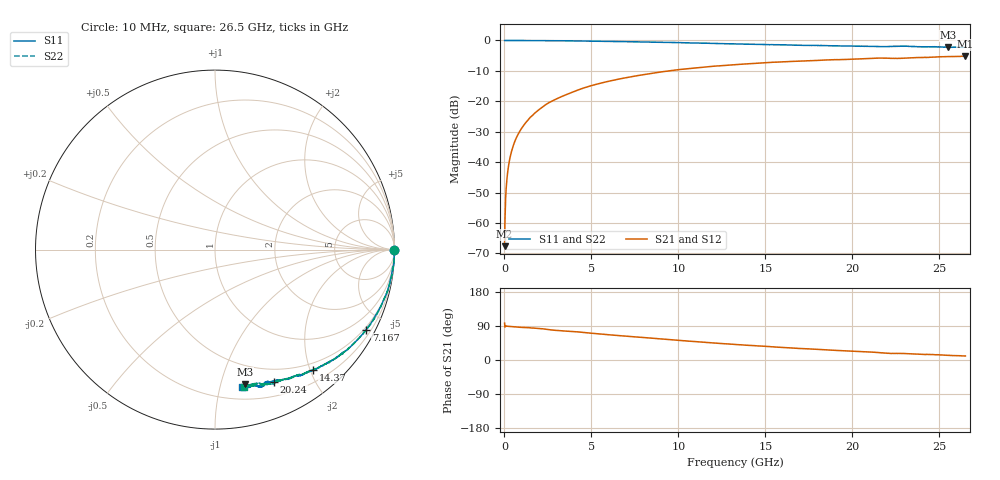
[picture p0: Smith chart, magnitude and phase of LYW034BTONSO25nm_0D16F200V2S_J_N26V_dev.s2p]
!Keysight Technologies,N5222B,MY61253708,A.15.00.15
!Date: Wednesday, June 19, 2024 08:52:19
!Correction: S11(C  2-Port  )
!S21(C  2-Port  )
!S12(C  2-Port  )
!S22(C  2-Port  )
!S2P File: Measurements: S11, S21, S12, S22:
# Hz S  RI  R 50
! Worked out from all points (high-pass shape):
!   2651 points, 10 MHz to 26.5 GHz, reference 50 ohm
!   highest |S21| = -5.15 dB at 26.5 GHz (marker M1); lowest = -67.6 dB at 10 MHz (marker M2)
!   |S21| within 3 dB of the highest: 12.81 GHz to end of sweep
!   lowest |S11| = -2.3 dB at 25.5 GHz (marker M3), VSWR 7.61, Z = 16.3 - j59.6 ohm
!   |S11| at or under -10 dB: nowhere
!   |S22| runs from -2.2 to 0.0 dB; largest |S21 - S12| = 0.0077
!   S11 on the Smith chart (normalised r, x): 10 MHz: open; 7.167 GHz: 0.41, -3.99; 14.37 GHz: 0.38, -2.04; 20.24 GHz: 0.35, -1.48; 26.5 GHz: 0.30, -1.17
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1e7  0.9988 -0.00215  -5.15e-05 0.000411  0.000151 0.000519  0.9991 -0.0005
7.997358e7  0.9998 -0.0059  1.69e-05 0.00299  4.89e-05 0.00297  0.9994 -0.0055
1.599434e8  0.9998 -0.0121  8.63e-05 0.0059  7.34e-05 0.00591  0.9995 -0.0114
2.099245e8  0.9996 -0.0153  0.000128 0.00775  0.000116 0.00778  0.9994 -0.0147
2.699019e8  0.9995 -0.0198  0.000177 0.0099  0.000218 0.01  0.9998 -0.0189
3.698642e8  0.9993 -0.0272  0.000395 0.0136  0.000411 0.0137  0.9993 -0.0264
4.998151e8  0.9987 -0.0362  0.000685 0.0183  0.000686 0.0184  0.9991 -0.035
6.597547e8  0.9978 -0.047  0.00114 0.0241  0.00115 0.0242  0.9982 -0.046
8.596792e8  0.9974 -0.0613  0.00195 0.0313  0.00195 0.0315  0.9972 -0.0608
1.479445e9  0.9889 -0.1061  0.00494 0.054  0.00499 0.0542  0.9919 -0.1025
2.349117e9  0.9784 -0.1628  0.0127 0.0862  0.0129 0.0867  0.98 -0.1629
3.208792e9  0.9643 -0.2204  0.0256 0.1139  0.0258 0.1145  0.9646 -0.2195
4.428332e9  0.933 -0.2964  0.0463 0.154  0.0466 0.1548  0.9349 -0.2935
7.167298e9  0.8426 -0.4457  0.1161 0.2207  0.1175 0.2216  0.8451 -0.4441
8.846664e9  0.7764 -0.5196  0.1666 0.2487  0.168 0.2495  0.7783 -0.5179
1.3255e10  0.5898 -0.6502  0.3019 0.2633  0.3041 0.2632  0.5935 -0.649
1.437458e10  0.5457 -0.6724  0.3319 0.2566  0.3335 0.2569  0.5493 -0.6685
1.767333e10  0.4137 -0.7169  0.4077 0.2247  0.411 0.2234  0.4253 -0.7151
2.024236e10  0.3271 -0.7352  0.4567 0.1917  0.4592 0.1902  0.3423 -0.735
2.209166e10  0.2817 -0.7394  0.4857 0.155  0.4872 0.1529  0.2762 -0.7467
2.550038e10  0.1663 -0.7496  0.5302 0.1139  0.5316 0.1149  0.1871 -0.7554
2.65e10  0.1485 -0.7641  0.5434 0.1027  0.5425 0.0998  0.1613 -0.7642
